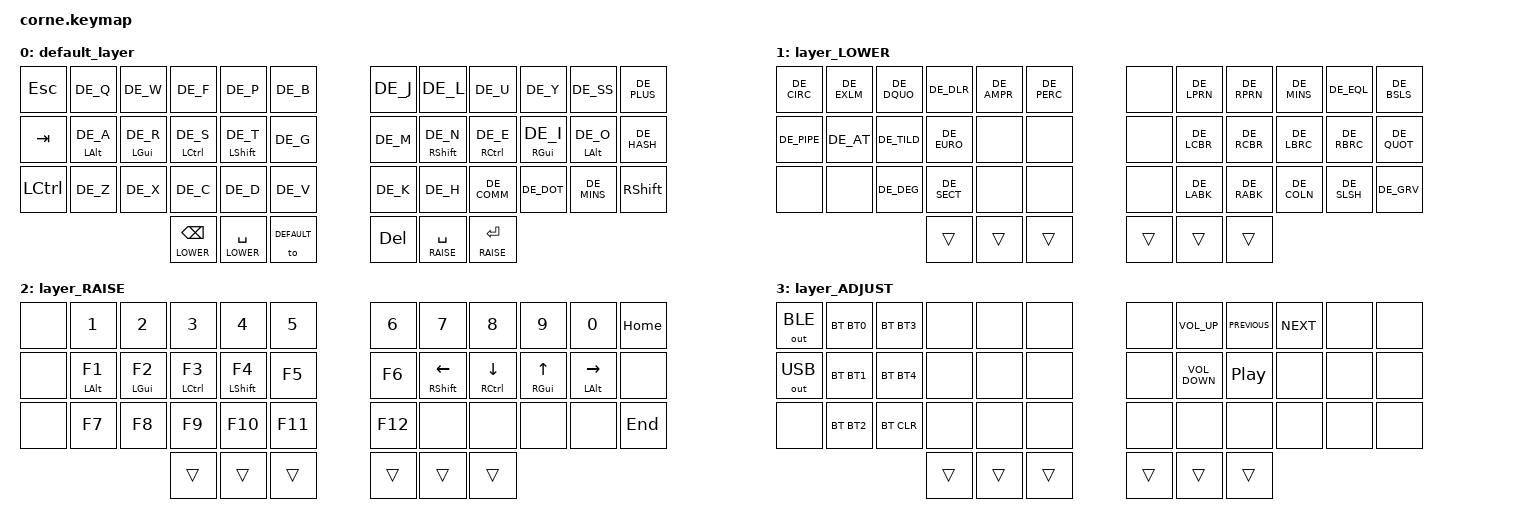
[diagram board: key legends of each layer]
/*
 * Copyright (c) 2020 The ZMK Contributors
 *
 * Author: Christian Geuer-Pollmann
 *
 * SPDX-License-Identifier: MIT
 */

#include <behaviors.dtsi>
#include <dt-bindings/zmk/keys.h>
#include <dt-bindings/zmk/outputs.h>
#include <dt-bindings/zmk/bt.h>
//#include <dt-bindings/zmk/mouse.h>
#include "german-keymap.h"

#define DEFAULT 0
#define LOWER   1
#define RAISE   2
#define ADJUST  3

#define BT0 BT_SEL 0
#define BT1 BT_SEL 1
#define BT2 BT_SEL 2
#define BT3 BT_SEL 3
#define BT4 BT_SEL 4

#define LEFT_ROW_0       0  1  2  3  4  5  
#define LEFT_ROW_1      12 13 14 15 16 17
#define LEFT_ROW_2      24 25 26 27 28 29
#define LEFT_ROW_3               36 37 38
#define RIGT_ROW_0                         6  7  8  9 10 11
#define RIGT_ROW_1                        18 19 20 21 22 23
#define RIGT_ROW_2                        30 31 32 33 34 35
#define RIGT_ROW_3                        39 40 41
#define LEFT_ROWS_012   LEFT_ROW_0 LEFT_ROW_1 LEFT_ROW_2
#define RIGT_ROWS_012   RIGT_ROW_0 RIGT_ROW_1 RIGT_ROW_2

#define COMBO_TIMEOUT 50

/ {
        conditional_layers { compatible = "zmk,conditional-layers";
                tri_layer { if-layers = <LOWER RAISE>; then-layer = <ADJUST>; };
        };

        combos { compatible = "zmk,combos";
                // combo_layer_1 { timeout-ms = <COMBO_TIMEOUT>; key-positions = < 4  5>; bindings = <&to LOWER>;                       };
                // combo_layer_2 { timeout-ms = <COMBO_TIMEOUT>; key-positions = <16 17>; bindings = <&to RAISE>;                       };
                // combo_layer_3 { timeout-ms = <COMBO_TIMEOUT>; key-positions = <28 29>; bindings = <&to ADJUST>;                      }; 

                combo_de_ae   { timeout-ms = <COMBO_TIMEOUT>; key-positions = < 6  7>; bindings = <&kp DE_AE>;      layers = <DEFAULT>; };
                combo_de_oe   { timeout-ms = <COMBO_TIMEOUT>; key-positions = <18 19>; bindings = <&kp DE_OE>;      layers = <DEFAULT>; };
                combo_de_ss   { timeout-ms = <COMBO_TIMEOUT>; key-positions = < 7  8>; bindings = <&kp DE_SS>;      layers = <DEFAULT>; };
                combo_de_ue   { timeout-ms = <COMBO_TIMEOUT>; key-positions = <30 31>; bindings = <&kp DE_UE>;      layers = <DEFAULT>; };
                combo_de_acut { timeout-ms = <COMBO_TIMEOUT>; key-positions = <23 35>; bindings = <&kp DE_ACUT>;    layers = <LOWER>;   };

                combo_page_up { timeout-ms = <COMBO_TIMEOUT>; key-positions = <11 23>; bindings = <&kp PG_UP>;      layers = <RAISE>;   };
                combo_page_dn { timeout-ms = <COMBO_TIMEOUT>; key-positions = <23 35>; bindings = <&kp PG_DN>;      layers = <RAISE>;   };

                combo_bt_0    { timeout-ms = <COMBO_TIMEOUT>; key-positions = < 0  1>; bindings = <&bt BT_SEL 0>;   layers = <DEFAULT>; };
                combo_bt_1    { timeout-ms = <COMBO_TIMEOUT>; key-positions = < 1  2>; bindings = <&bt BT_SEL 1>;   layers = <DEFAULT>; };
                combo_bt_2    { timeout-ms = <COMBO_TIMEOUT>; key-positions = < 2  3>; bindings = <&bt BT_SEL 2>;   layers = <DEFAULT>; };
                combo_bt_3    { timeout-ms = <COMBO_TIMEOUT>; key-positions = < 3  4>; bindings = <&bt BT_SEL 3>;   layers = <DEFAULT>; };
                combo_bt_4    { timeout-ms = <COMBO_TIMEOUT>; key-positions = < 4  5>; bindings = <&bt BT_SEL 4>;   layers = <DEFAULT>; };                
        };

        behaviors {
                lh_pht: homerow_left {
                        compatible = "zmk,behavior-hold-tap";
                        label = "POSITIONAL_HOLD_TAP";
                        hold-trigger-key-positions = <RIGT_ROWS_012 41>;
                        #binding-cells = <2>; bindings = <&kp>, <&kp>;
                        flavor = "balanced"; tapping-term-ms = <400>;
                        
                };
                rh_pht: homerow_right {
                        compatible = "zmk,behavior-hold-tap";
                        label = "POSITIONAL_HOLD_TAPR";
                        hold-trigger-key-positions = <LEFT_ROWS_012 36>;
                        #binding-cells = <2>; bindings = <&kp>, <&kp>;
                        //flavor = "hold-preferred"; quick-tap-ms = <200>; tapping-term-ms = <400>;
                        flavor = "balanced"; tapping-term-ms = <400>;
                };
            };

        keymap { compatible = "zmk,keymap";

                default_layer {
                        bindings = <
   &kp ESC   &kp DE_Q          &kp DE_W          &kp DE_F             &kp DE_P             &kp DE_B             &kp DE_J      &kp DE_L              &kp DE_U               &kp DE_Y          &kp DE_SS         &kp DE_PLUS
   &kp TAB   &lh_pht LALT DE_A &lh_pht LGUI DE_R &lh_pht LCTRL DE_S   &lh_pht LSHIFT DE_T  &kp DE_G             &kp DE_M      &rh_pht RSHIFT DE_N   &rh_pht RCTRL DE_E     &rh_pht RGUI DE_I &rh_pht LALT DE_O &kp DE_HASH
   &kp LCTRL &kp DE_Z          &kp DE_X          &kp DE_C             &kp DE_D             &kp DE_V             &kp DE_K      &kp DE_H              &kp DE_COMM            &kp DE_DOT        &kp DE_MINS       &kp RSHIFT
                                                 &lt LOWER BSPC       &lt LOWER SPACE      &to DEFAULT          &kp DEL       &lt RAISE SPACE       &lt RAISE RET
                        >;      
                };

                layer_LOWER {
                        bindings = <
   &kp DE_CIRC &kp DE_EXLM  &kp DE_DQUO  &kp DE_DLR   &kp DE_AMPR  &kp DE_PERC    &none    &kp DE_LPRN   &kp DE_RPRN     &kp DE_MINS &kp DE_EQL   &kp DE_BSLS  
   &kp DE_PIPE &kp DE_AT    &kp DE_TILD  &kp DE_EURO  &none        &none          &none    &kp DE_LCBR   &kp DE_RCBR     &kp DE_LBRC &kp DE_RBRC  &kp DE_QUOT
   &none       &none        &kp DE_DEG   &kp DE_SECT  &none        &none          &none    &kp DE_LABK   &kp DE_RABK     &kp DE_COLN &kp DE_SLSH  &kp DE_GRV
                          	         &trans       &trans       &trans         &trans   &trans        &trans
                        >;
                };
                
                layer_RAISE {
                        bindings = <
   &none       &kp N1            &kp N2          &kp N3           &kp N4            &kp N5                   &kp N6    &kp N7              &kp N8                 &kp N9          &kp N0              &kp HOME
   &none       &lh_pht LALT F1   &lh_pht LGUI F2 &lh_pht LCTRL F3 &lh_pht LSHIFT F4 &kp F5                   &kp F6    &rh_pht RSHFT LEFT  &rh_pht RCTRL DOWN     &rh_pht RGUI UP &rh_pht LALT RIGHT  &none
   &none       &kp F7            &kp F8          &kp F9           &kp F10           &kp F11                  &kp F12   &none               &none                  &none           &none               &kp END 
                                                 &trans           &trans            &trans                   &trans    &trans              &trans
                        >;
                };

                layer_ADJUST {
                       bindings = <
   &out OUT_BLE     &bt BT0      &bt BT3       &none    &none    &none              &none   &kp C_VOLUME_UP    &kp C_PREVIOUS     &kp C_NEXT   &none      &none 
   &out OUT_USB     &bt BT1      &bt BT4       &none    &none    &none              &none   &kp C_VOLUME_DOWN  &kp C_PLAY_PAUSE   &none        &none      &none 
   &none            &bt BT2      &bt BT_CLR    &none    &none    &none              &none   &none              &none              &none        &none      &none 
                                               &trans   &trans   &trans             &trans  &trans             &trans
                        >;
                };
        };
};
